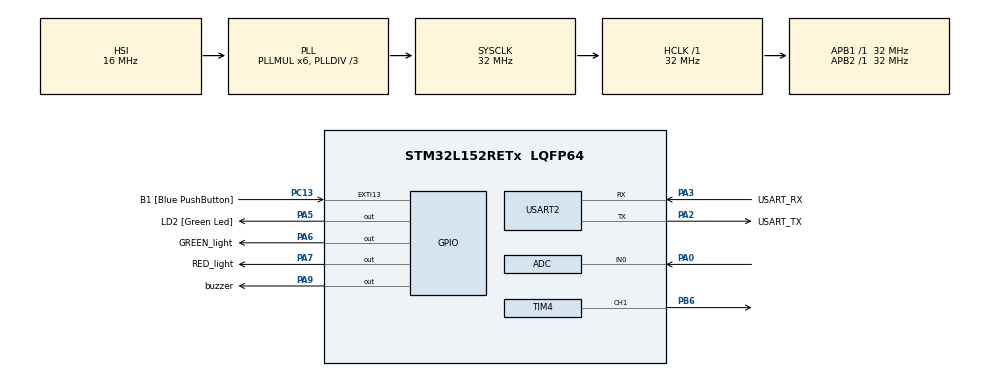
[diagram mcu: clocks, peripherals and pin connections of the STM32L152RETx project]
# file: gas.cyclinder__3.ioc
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ADC.Channel-0\#ChannelRegularConversion=ADC_CHANNEL_0
ADC.ExternalTrigConv=ADC_SOFTWARE_START
ADC.NbrOfConversion=1
ADC.NbrOfConversionFlag=1
ADC.Rank-0\#ChannelRegularConversion=1
ADC.SamplingTime-0\#ChannelRegularConversion=ADC_SAMPLETIME_4CYCLES
Mcu.Family=STM32L1
Mcu.Name=STM32L152RETx
Mcu.Package=LQFP64
NVIC.PriorityGroup=NVIC_PRIORITYGROUP_0
PA0-WKUP1.Mode=IN0
PA0-WKUP1.Signal=ADC_IN0
PA13.GPIO_Label=TMS
PA13.Mode=Serial_Wire
PA13.Signal=SYS_JTMS-SWDIO
PA14.GPIO_Label=TCK
PA14.Mode=Serial_Wire
PA14.Signal=SYS_JTCK-SWCLK
PA2.GPIO_Label=USART_TX
PA2.Mode=Asynchronous
PA2.Signal=USART2_TX
PA3.GPIO_Label=USART_RX
PA3.Mode=Asynchronous
PA3.Signal=USART2_RX
PA5.GPIO_Label=LD2 [Green Led]
PA5.Signal=GPIO_Output
PA6.GPIO_Label=GREEN_light
PA6.Signal=GPIO_Output
PA7.GPIO_Label=RED_light
PA7.Signal=GPIO_Output
PA9.GPIO_Label=buzzer
PA9.Signal=GPIO_Output
PB3.GPIO_Label=SWO
PB3.Signal=SYS_JTDO-TRACESWO
PB6.Signal=S_TIM4_CH1
PC13-WKUP2.GPIO_Label=B1 [Blue PushButton]
PC13-WKUP2.Signal=GPXTI13
PC14-OSC32_IN.Mode=LSE-External-Oscillator
PC14-OSC32_IN.Signal=RCC_OSC32_IN
PC15-OSC32_OUT.Mode=LSE-External-Oscillator
PC15-OSC32_OUT.Signal=RCC_OSC32_OUT
PH0-OSC_IN.Mode=HSE-External-Clock-Source
PH0-OSC_IN.Signal=RCC_OSC_IN
PH1-OSC_OUT.Signal=RCC_OSC_OUT
ProjectManager.HeapSize=0x200
ProjectManager.StackSize=0x400
ProjectManager.TargetToolchain=STM32CubeIDE
RCC.48MHZClocksFreq_Value=48000000
RCC.AHBFreq_Value=32000000
RCC.APB1Freq_Value=32000000
RCC.APB1TimFreq_Value=32000000
RCC.APB2Freq_Value=32000000
RCC.APB2TimFreq_Value=32000000
RCC.HCLKFreq_Value=32000000
RCC.HSE_VALUE=8000000
RCC.HSI_VALUE=16000000
RCC.MSI_VALUE=2097000
RCC.PLLDIV=RCC_PLL_DIV3
RCC.PLLMUL=RCC_PLL_MUL6
RCC.RTCClockSelectionVirtual=RCC_RTCCLKSOURCE_LSE
RCC.SYSCLKFreq_VALUE=32000000
RCC.SYSCLKSource=RCC_SYSCLKSOURCE_PLLCLK
RCC.USBOutput=48000000
RCC.VCOOutputFreq_Value=96000000
SH.S_TIM4_CH1.0=TIM4_CH1,PWM Generation1 CH1
TIM4.Channel-PWM\ Generation1\ CH1=TIM_CHANNEL_1
TIM4.ClockDivision=TIM_CLOCKDIVISION_DIV2
TIM4.Period=32222
TIM4.TIM_MasterOutputTrigger=TIM_TRGO_RESET
USART2.VirtualMode=VM_ASYNC
board=NUCLEO-L152RE

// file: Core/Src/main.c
/* USER CODE BEGIN Header */
/**
  ******************************************************************************
  * @file           : main.c
  * @brief          : Main program body
  ******************************************************************************
  * @attention
  *
  * Copyright (c) 2022 STMicroelectronics.
  * All rights reserved.
  *
  * This software is licensed under terms that can be found in the LICENSE file
  * in the root directory of this software component.
  * If no LICENSE file comes with this software, it is provided AS-IS.
  *
  ******************************************************************************
  */
/* USER CODE END Header */
#include "main.h"

ADC_HandleTypeDef hadc;

TIM_HandleTypeDef htim4;

UART_HandleTypeDef huart2;

void SystemClock_Config(void);
static void MX_GPIO_Init(void);
static void MX_USART2_UART_Init(void);
static void MX_ADC_Init(void);
static void MX_TIM4_Init(void);

/* USER CODE BEGIN 0 */
uint16_t readValue = 0;

/* USER CODE END 0 */

int main(void)
{

  /* MCU Configuration--------------------------------------------------------*/

  /* Reset of all peripherals, Initializes the Flash interface and the Systick. */
  HAL_Init();

  /* Configure the system clock */
  SystemClock_Config();

  /* Initialize all configured peripherals */
  MX_GPIO_Init();
  MX_USART2_UART_Init();
  MX_ADC_Init();
  MX_TIM4_Init();

  /* Infinite loop */
  /* USER CODE BEGIN WHILE */
  while (1)
  {

	  HAL_ADC_Start(&hadc);
	  HAL_ADC_PollForConversion(&hadc,5000);
	  readValue = HAL_ADC_GetValue(&hadc);
	HAL_Delay(500);
	if( readValue > 0 && readValue < 10){

		HAL_GPIO_WritePin(GPIOA, GPIO_PIN_6, 1);    //green led D12
		HAL_GPIO_WritePin(GPIOA, GPIO_PIN_7, 0);	//red led D11
		HAL_GPIO_WritePin(GPIOA, GPIO_PIN_9, 0);	//buzzer D10
		HAL_GPIO_WritePin(GPIOB, GPIO_PIN_6, 0);	//yellow led D8

	}
	else if(readValue > 11 && readValue < 3999){
		HAL_GPIO_WritePin(GPIOA, GPIO_PIN_6, 0);	//green led
		HAL_GPIO_WritePin(GPIOA, GPIO_PIN_7, 0);	//red led
		HAL_GPIO_WritePin(GPIOB, GPIO_PIN_6, 1);	//yellow led
		HAL_GPIO_WritePin(GPIOA, GPIO_PIN_9, 1);	//buzzer
		HAL_TIM_PWM_Start(&htim4,TIM_CHANNEL_1);                //for pwn for buzzer
		__HAL_TIM_SET_COMPARE(&htim4,TIM_CHANNEL_1,32000);	//for pwn for buzzer

	}
	else if(readValue > 4000 && readValue < 4020){
			HAL_GPIO_WritePin(GPIOA, GPIO_PIN_6, 0);    //green led
			HAL_GPIO_WritePin(GPIOA, GPIO_PIN_7, 1);    //red led
			HAL_GPIO_WritePin(GPIOB, GPIO_PIN_6, 0);	//yellow led
			HAL_GPIO_WritePin(GPIOA, GPIO_PIN_9, 0);    //buzzer
	}

	else if(readValue > 4021) {
				HAL_GPIO_WritePin(GPIOA, GPIO_PIN_6, 0);    //green led
				HAL_GPIO_WritePin(GPIOA, GPIO_PIN_7, 1);    //red led
				HAL_GPIO_WritePin(GPIOB, GPIO_PIN_6, 0);	//yellow led
				HAL_GPIO_WritePin(GPIOA, GPIO_PIN_9, 1);    //buzzeer
		}

	/*
	 * if (0<readValue < 100) {
	  		  HAL_GPIO_WritePin(GPIOA, GPIO_PIN_13, 1);
	  		  HAL_GPIO_WritePin(GPIOA, GPIO_PIN_12, 0);
	  		  HAL_GPIO_WritePin(GPIOA, GPIO_PIN_11, 0);
	  		  HAL_GPIO_WritePin(GPIOC, GPIO_PIN_6, 0);
	  	  }
	  	  else if (100<readValue < 400 ) {
	  		 HAL_GPIO_WritePin(GPIOA, GPIO_PIN_13, 0);
	  		 HAL_GPIO_WritePin(GPIOA, GPIO_PIN_12, 1);
	  		 HAL_GPIO_WritePin(GPIOA, GPIO_PIN_11, 0);
	  		 HAL_GPIO_WritePin(GPIOC, GPIO_PIN_6, 0);
	  	  }
	  	  else if (401< readValue <800) {
	  		HAL_GPIO_WritePin(GPIOA, GPIO_PIN_13, 0);
	  	    HAL_GPIO_WritePin(GPIOA, GPIO_PIN_12, 0);
	  	    HAL_GPIO_WritePin(GPIOA, GPIO_PIN_11, 1);
	  	    HAL_GPIO_WritePin(GPIOC, GPIO_PIN_6, 0);
	  	  }
	  	  else {
	  		HAL_GPIO_WritePin(GPIOA, GPIO_PIN_13, 0);
	  	    HAL_GPIO_WritePin(GPIOA, GPIO_PIN_12, 0);
	  	    HAL_GPIO_WritePin(GPIOA, GPIO_PIN_11, 1);
	  	    HAL_GPIO_WritePin(GPIOC, GPIO_PIN_6, 1);
	  	  }*/

  }
    /* USER CODE END WHILE */

}

void SystemClock_Config(void)
{
  RCC_OscInitTypeDef RCC_OscInitStruct = {0};
  RCC_ClkInitTypeDef RCC_ClkInitStruct = {0};

  /** Configure the main internal regulator output voltage
  */
  __HAL_PWR_VOLTAGESCALING_CONFIG(PWR_REGULATOR_VOLTAGE_SCALE1);

  /** Initializes the RCC Oscillators according to the specified parameters
  * in the RCC_OscInitTypeDef structure.
  */
  RCC_OscInitStruct.OscillatorType = RCC_OSCILLATORTYPE_HSI;
  RCC_OscInitStruct.HSIState = RCC_HSI_ON;
  RCC_OscInitStruct.HSICalibrationValue = RCC_HSICALIBRATION_DEFAULT;
  RCC_OscInitStruct.PLL.PLLState = RCC_PLL_ON;
  RCC_OscInitStruct.PLL.PLLSource = RCC_PLLSOURCE_HSI;
  RCC_OscInitStruct.PLL.PLLMUL = RCC_PLL_MUL6;
  RCC_OscInitStruct.PLL.PLLDIV = RCC_PLL_DIV3;
  if (HAL_RCC_OscConfig(&RCC_OscInitStruct) != HAL_OK)
  {
    Error_Handler();
  }

  /** Initializes the CPU, AHB and APB buses clocks
  */
  RCC_ClkInitStruct.ClockType = RCC_CLOCKTYPE_HCLK|RCC_CLOCKTYPE_SYSCLK
                              |RCC_CLOCKTYPE_PCLK1|RCC_CLOCKTYPE_PCLK2;
  RCC_ClkInitStruct.SYSCLKSource = RCC_SYSCLKSOURCE_PLLCLK;
  RCC_ClkInitStruct.AHBCLKDivider = RCC_SYSCLK_DIV1;
  RCC_ClkInitStruct.APB1CLKDivider = RCC_HCLK_DIV1;
  RCC_ClkInitStruct.APB2CLKDivider = RCC_HCLK_DIV1;

  if (HAL_RCC_ClockConfig(&RCC_ClkInitStruct, FLASH_LATENCY_1) != HAL_OK)
  {
    Error_Handler();
  }
}

static void MX_ADC_Init(void)
{

  ADC_ChannelConfTypeDef sConfig = {0};

  /** Configure the global features of the ADC (Clock, Resolution, Data Alignment and number of conversion)
  */
  hadc.Instance = ADC1;
  hadc.Init.ClockPrescaler = ADC_CLOCK_ASYNC_DIV1;
  hadc.Init.Resolution = ADC_RESOLUTION_12B;
  hadc.Init.DataAlign = ADC_DATAALIGN_RIGHT;
  hadc.Init.ScanConvMode = ADC_SCAN_DISABLE;
  hadc.Init.EOCSelection = ADC_EOC_SEQ_CONV;
  hadc.Init.LowPowerAutoWait = ADC_AUTOWAIT_DISABLE;
  hadc.Init.LowPowerAutoPowerOff = ADC_AUTOPOWEROFF_DISABLE;
  hadc.Init.ChannelsBank = ADC_CHANNELS_BANK_A;
  hadc.Init.ContinuousConvMode = DISABLE;
  hadc.Init.NbrOfConversion = 1;
  hadc.Init.DiscontinuousConvMode = DISABLE;
  hadc.Init.ExternalTrigConv = ADC_SOFTWARE_START;
  hadc.Init.ExternalTrigConvEdge = ADC_EXTERNALTRIGCONVEDGE_NONE;
  hadc.Init.DMAContinuousRequests = DISABLE;
  if (HAL_ADC_Init(&hadc) != HAL_OK)
  {
    Error_Handler();
  }

  /** Configure for the selected ADC regular channel its corresponding rank in the sequencer and its sample time.
  */
  sConfig.Channel = ADC_CHANNEL_0;
  sConfig.Rank = ADC_REGULAR_RANK_1;
  sConfig.SamplingTime = ADC_SAMPLETIME_4CYCLES;
  if (HAL_ADC_ConfigChannel(&hadc, &sConfig) != HAL_OK)
  {
    Error_Handler();
  }

}

static void MX_TIM4_Init(void)
{

  TIM_MasterConfigTypeDef sMasterConfig = {0};
  TIM_OC_InitTypeDef sConfigOC = {0};

  htim4.Instance = TIM4;
  htim4.Init.Prescaler = 0;
  htim4.Init.CounterMode = TIM_COUNTERMODE_UP;
  htim4.Init.Period = 32222;
  htim4.Init.ClockDivision = TIM_CLOCKDIVISION_DIV2;
  htim4.Init.AutoReloadPreload = TIM_AUTORELOAD_PRELOAD_DISABLE;
  if (HAL_TIM_PWM_Init(&htim4) != HAL_OK)
  {
    Error_Handler();
  }
  sMasterConfig.MasterOutputTrigger = TIM_TRGO_RESET;
  sMasterConfig.MasterSlaveMode = TIM_MASTERSLAVEMODE_DISABLE;
  if (HAL_TIMEx_MasterConfigSynchronization(&htim4, &sMasterConfig) != HAL_OK)
  {
    Error_Handler();
  }
  sConfigOC.OCMode = TIM_OCMODE_PWM1;
  sConfigOC.Pulse = 0;
  sConfigOC.OCPolarity = TIM_OCPOLARITY_HIGH;
  sConfigOC.OCFastMode = TIM_OCFAST_DISABLE;
  if (HAL_TIM_PWM_ConfigChannel(&htim4, &sConfigOC, TIM_CHANNEL_1) != HAL_OK)
  {
    Error_Handler();
  }
  HAL_TIM_MspPostInit(&htim4);

}

static void MX_USART2_UART_Init(void)
{

  huart2.Instance = USART2;
  huart2.Init.BaudRate = 115200;
  huart2.Init.WordLength = UART_WORDLENGTH_8B;
  huart2.Init.StopBits = UART_STOPBITS_1;
  huart2.Init.Parity = UART_PARITY_NONE;
  huart2.Init.Mode = UART_MODE_TX_RX;
  huart2.Init.HwFlowCtl = UART_HWCONTROL_NONE;
  huart2.Init.OverSampling = UART_OVERSAMPLING_16;
  if (HAL_UART_Init(&huart2) != HAL_OK)
  {
    Error_Handler();
  }

}

static void MX_GPIO_Init(void)
{
  GPIO_InitTypeDef GPIO_InitStruct = {0};

  /* GPIO Ports Clock Enable */
  __HAL_RCC_GPIOC_CLK_ENABLE();
  __HAL_RCC_GPIOH_CLK_ENABLE();
  __HAL_RCC_GPIOA_CLK_ENABLE();
  __HAL_RCC_GPIOB_CLK_ENABLE();

  /*Configure GPIO pin Output Level */
  HAL_GPIO_WritePin(GPIOA, LD2_Pin|GREEN_light_Pin|RED_light_Pin|buzzer_Pin, GPIO_PIN_RESET);

  /*Configure GPIO pin : B1_Pin */
  GPIO_InitStruct.Pin = B1_Pin;
  GPIO_InitStruct.Mode = GPIO_MODE_IT_RISING;
  GPIO_InitStruct.Pull = GPIO_NOPULL;
  HAL_GPIO_Init(B1_GPIO_Port, &GPIO_InitStruct);

  /*Configure GPIO pins : LD2_Pin GREEN_light_Pin RED_light_Pin buzzer_Pin */
  GPIO_InitStruct.Pin = LD2_Pin|GREEN_light_Pin|RED_light_Pin|buzzer_Pin;
  GPIO_InitStruct.Mode = GPIO_MODE_OUTPUT_PP;
  GPIO_InitStruct.Pull = GPIO_NOPULL;
  GPIO_InitStruct.Speed = GPIO_SPEED_FREQ_LOW;
  HAL_GPIO_Init(GPIOA, &GPIO_InitStruct);

}

void Error_Handler(void)
{
  __disable_irq();
  while (1)
  {
  }
}
